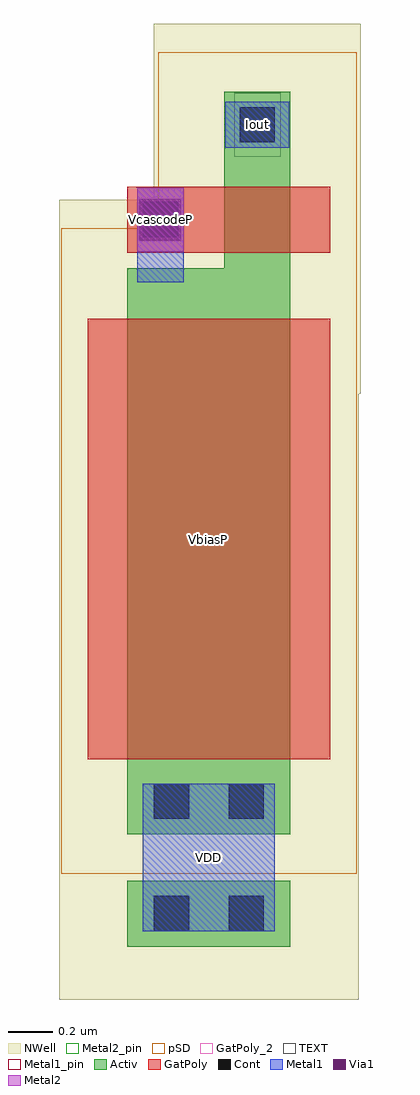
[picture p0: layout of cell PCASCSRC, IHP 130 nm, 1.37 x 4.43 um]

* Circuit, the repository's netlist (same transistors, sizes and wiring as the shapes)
* Extracted by KLayout with SG13G2 LVS runset on : 18/08/2025 23:04

.SUBCKT PCASCSRC
M$1 \$2 \$5 \$6 \$2 sg13_lv_pmos L=2u W=0.74u AS=0.2516p AD=0.0956p PS=2.16u
+ PD=1.04u
M$2 \$6 \$3 \$4 \$2 sg13_lv_pmos L=0.3u W=0.3u AS=0.0956p AD=0.129p PS=1.04u
+ PD=1.46u
.ENDS PCASCSRC

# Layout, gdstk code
import gdstk
lib = gdstk.Library(unit=1e-6, precision=1e-09)
def R(c, l, rs):  # rectangles x0, y0, x1, y1
    for r in rs: c.add(gdstk.rectangle(r[:2], r[2:], *l))
Activ = (1, 0)
GatPoly = (5, 0)
GatPoly_2 = (5, 2)
Cont = (6, 0)
Metal1 = (8, 0)
Metal1_pin = (8, 2)
Metal2 = (10, 0)
Metal2_pin = (10, 2)
pSD = (14, 0)
Via1 = (19, 0)
NWell = (31, 0)
TEXT = (63, 0)

switched_pmos_cascode = lib.new_cell('switched_pmos_cascode')
R(switched_pmos_cascode, Activ, [(0.29,-0.38,0.59,0.58)])
R(switched_pmos_cascode, GatPoly, [(-0.15,-0.15,0.77,0.15)])
R(switched_pmos_cascode, Cont, [(-0.08,-0.08,0.08,0.08), (0.36,0.35,0.52,0.51)])
R(switched_pmos_cascode, Metal1, [(-0.105,-0.145,0.105,0.145), (0.295,0.325,0.585,0.535)])
R(switched_pmos_cascode, Metal2, [(-0.105,-0.145,0.105,0.145)])
R(switched_pmos_cascode, pSD, [(-0.01,-0.56,0.89,0.76)])
R(switched_pmos_cascode, Via1, [(-0.095,-0.095,0.095,0.095)])
R(switched_pmos_cascode, NWell, [(-0.03,-0.79,0.91,0.89)])
R(switched_pmos_cascode, TEXT, [(0.335,0.285,0.545,0.575), (0.345,0.335,0.535,0.525)])

pcascsrc = lib.new_cell('PCASCSRC')
R(pcascsrc, Activ, [(-0.15,-3.3,0.59,-3), (-0.15,-2.79,0.59,-0.22)])
R(pcascsrc, GatPoly, [(-0.33,-2.45,0.77,-0.45)])
R(pcascsrc, GatPoly_2, [(-0.33,-2.45,0.77,-0.45)])
R(pcascsrc, Cont, [(-0.03,-3.23,0.13,-3.07), (0.31,-3.23,0.47,-3.07), (-0.03,-2.72,0.13,-2.56), (0.31,-2.72,0.47,-2.56)])
R(pcascsrc, Metal1, [(-0.08,-3.23,0.52,-2.56), (-0.105,-0.285,0.105,0.145)])
R(pcascsrc, Metal1_pin, [(-0.08,-3.23,0.52,-2.56), (0.295,0.325,0.585,0.535)])
R(pcascsrc, Metal2_pin, [(-0.105,-0.145,0.105,0.145)])
R(pcascsrc, pSD, [(-0.45,-2.97,0.89,-0.04)])
R(pcascsrc, NWell, [(-0.46,-3.54,0.9,0.09)])
pcascsrc.add(gdstk.Reference(switched_pmos_cascode, (0,0)))
pcascsrc.add(gdstk.Label('Iout', (0.44,0.43), layer=8, texttype=2))
pcascsrc.add(gdstk.Label('VDD', (0.22,-2.895), layer=8, texttype=2))
pcascsrc.add(gdstk.Label('VbiasP', (0.22,-1.45), layer=5, texttype=2))
pcascsrc.add(gdstk.Label('VcascodeP', (0,0), layer=10, texttype=2))

lib.write_gds('PCASCSRC.gds')
